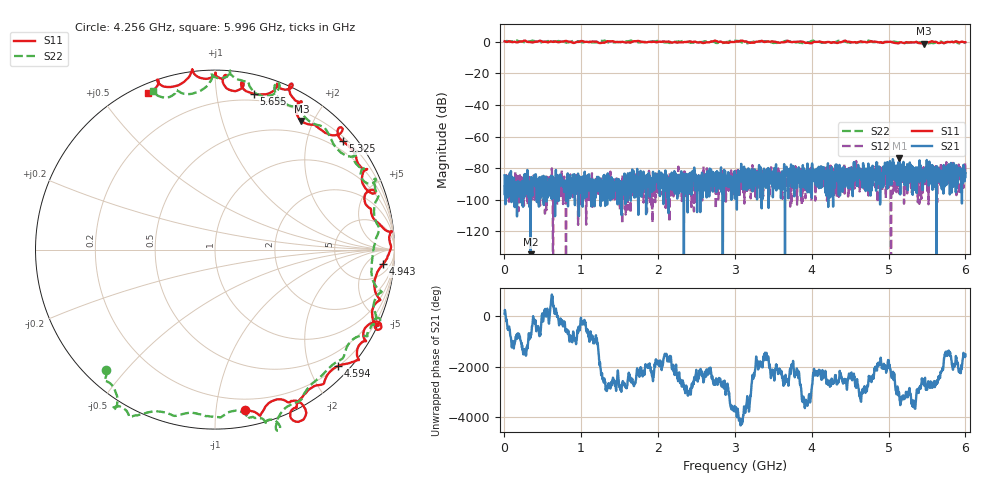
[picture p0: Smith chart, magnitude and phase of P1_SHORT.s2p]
# Hz S RI R 50
! RAW DATA - UNCALIBRATED
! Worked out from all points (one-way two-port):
!   1600 points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, 3.78 MHz to 6 GHz, reference 50 ohm
!   highest |S21| = -73.65 dB at 5.141 GHz (marker M1); lowest = -186.1 dB at 341.3 MHz (marker M2)
!   lowest |S11| = -1.3 dB at 5.46 GHz (marker M3), VSWR 13.57, Z = 16.4 + j91.6 ohm
!   |S11| at or under -10 dB: nowhere
!   |S22| runs from -1.1 to 0.7 dB; largest |S21 - S12| = 0.00026
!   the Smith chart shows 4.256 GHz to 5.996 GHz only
!   S11 on the Smith chart (normalised r, x): 4.256 GHz: 0.11, -1.20; 4.594 GHz: 0.21, -2.50; 4.943 GHz: 11, -15; 5.325 GHz: 0.29, +2.69; 5.655 GHz: 0.15, +1.27; 5.996 GHz: 0.04, +0.66
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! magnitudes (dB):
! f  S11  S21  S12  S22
! 3.78 MHz  0.2  -84.5  -90.6  -0.2
! 341.3 MHz  -0.3  -186.1  -100.0  0.2
! 1.005 GHz  0.3  -86.0  -98.6  -0.5
! 2.003 GHz  -0.2  -90.7  -96.4  0.3
! 2.659 GHz  -0.6  -87.3  -92.9  0.5
! 2.816 GHz  0.0  -82.5  -91.0  -0.8
! 3.004 GHz  -0.2  -84.9  -81.7  0.5
! 3.15 GHz  0.1  -93.9  -81.0  -0.9
! 3.289 GHz  0.0  -99.8  -81.5  0.3
! 3.893 GHz  -0.2  -86.7  -86.4  -1.0
! 4.001 GHz  -1.0  -98.7  -79.3  0.4
! 4.256 GHz  -0.8  -88.9  -82.3  -0.8
! 4.373 GHz  -0.5  -82.6  -85.5  0.2
! 4.594 GHz  -0.5  -83.7  -89.5  -0.7
! 4.943 GHz  -0.5  -84.8  -79.9  -0.3
! 5.003 GHz  -0.2  -80.8  -84.8  -0.3
! 5.141 GHz  -0.8  -73.6  -85.1  -0.4
! 5.325 GHz  -0.6  -84.8  -90.4  -0.4
! 5.46 GHz  -1.3  -83.3  -81.3  -0.7
! 5.655 GHz  -1.0  -83.7  -79.7  -0.6
! 5.996 GHz  -0.4  -86.2  -76.4  -0.4
! 6 GHz  -0.4  -83.2  -84.2  -0.3
